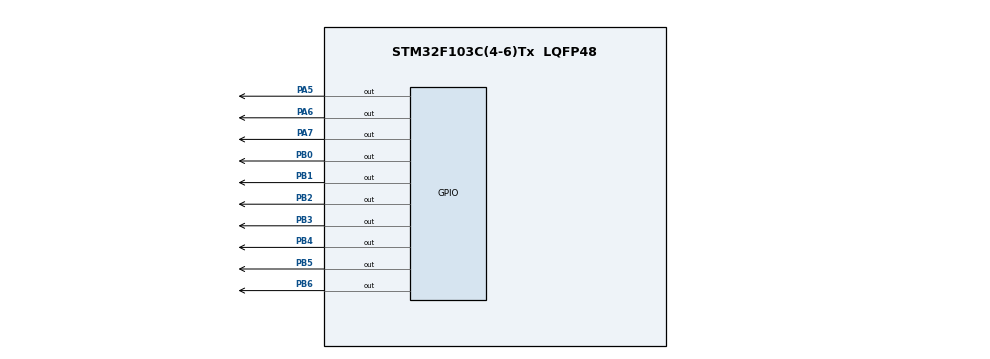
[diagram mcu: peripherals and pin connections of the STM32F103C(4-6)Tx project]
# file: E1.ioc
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Mcu.Family=STM32F1
Mcu.Name=STM32F103C(4-6)Tx
Mcu.Package=LQFP48
NVIC.PriorityGroup=NVIC_PRIORITYGROUP_4
NVIC.TIM2_IRQn=true\:0\:0\:false\:false\:true\:true\:true
PA5.Signal=GPIO_Output
PA6.Signal=GPIO_Output
PA7.Signal=GPIO_Output
PB0.Signal=GPIO_Output
PB1.Signal=GPIO_Output
PB2.Signal=GPIO_Output
PB3.Signal=GPIO_Output
PB4.Signal=GPIO_Output
PB5.Signal=GPIO_Output
PB6.Signal=GPIO_Output
ProjectManager.HeapSize=0x200
ProjectManager.StackSize=0x400
ProjectManager.TargetToolchain=STM32CubeIDE
RCC.APB1Freq_Value=8000000
RCC.APB2Freq_Value=8000000
TIM2.Period=9
TIM2.Prescaler=7999
VP_SYS_VS_ND.Mode=No_Debug
VP_TIM2_VS_ClockSourceINT.Mode=Internal
board=custom

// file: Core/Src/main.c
/* USER CODE BEGIN Header */
/**
  ******************************************************************************
  * @file           : main.c
  * @brief          : Main program body
  ******************************************************************************
  * @attention
  *
  * <h2><center>&copy; Copyright (c) 2025 STMicroelectronics.
  * All rights reserved.</center></h2>
  *
  * This software component is licensed by ST under BSD 3-Clause license,
  * the "License"; You may not use this file except in compliance with the
  * License. You may obtain a copy of the License at:
  *                        opensource.org/licenses/BSD-3-Clause
  *
  ******************************************************************************
  */
/* USER CODE END Header */

#include "main.h"

/* USER CODE BEGIN Includes */
#include "timer.h"
/* USER CODE END Includes */

TIM_HandleTypeDef htim2;

void SystemClock_Config(void);
static void MX_GPIO_Init(void);
static void MX_TIM2_Init(void);

uint8_t table[10] = {
    0b1000000, // 0
    0b1111001, // 1
    0b0100100, // 2
    0b0110000, // 3
    0b0011001, // 4
    0b0010010, // 5
    0b0000010, // 6
    0b1111000, // 7
    0b0000000, // 8
    0b0010000 // 9
};

void display7SEG(int num){
	uint8_t n= table[num];
	GPIOB->ODR= (GPIOB->ODR & 0xFFFFFF80)|n;
}

int main(void)
{

  /* MCU Configuration--------------------------------------------------------*/

  /* Reset of all peripherals, Initializes the Flash interface and the Systick. */
  HAL_Init();

  /* Configure the system clock */
  SystemClock_Config();

  /* Initialize all configured peripherals */
  MX_GPIO_Init();
  MX_TIM2_Init();
  /* USER CODE BEGIN 2 */
  HAL_TIM_Base_Start_IT(&htim2);
  /* USER CODE END 2 */

  /* Infinite loop */
  while (1)
  {

  }
}

void SystemClock_Config(void)
{
  RCC_OscInitTypeDef RCC_OscInitStruct = {0};
  RCC_ClkInitTypeDef RCC_ClkInitStruct = {0};

  /** Initializes the RCC Oscillators according to the specified parameters
  * in the RCC_OscInitTypeDef structure.
  */
  RCC_OscInitStruct.OscillatorType = RCC_OSCILLATORTYPE_HSI;
  RCC_OscInitStruct.HSIState = RCC_HSI_ON;
  RCC_OscInitStruct.HSICalibrationValue = RCC_HSICALIBRATION_DEFAULT;
  RCC_OscInitStruct.PLL.PLLState = RCC_PLL_NONE;
  if (HAL_RCC_OscConfig(&RCC_OscInitStruct) != HAL_OK)
  {
    Error_Handler();
  }
  /** Initializes the CPU, AHB and APB buses clocks
  */
  RCC_ClkInitStruct.ClockType = RCC_CLOCKTYPE_HCLK|RCC_CLOCKTYPE_SYSCLK
                              |RCC_CLOCKTYPE_PCLK1|RCC_CLOCKTYPE_PCLK2;
  RCC_ClkInitStruct.SYSCLKSource = RCC_SYSCLKSOURCE_HSI;
  RCC_ClkInitStruct.AHBCLKDivider = RCC_SYSCLK_DIV1;
  RCC_ClkInitStruct.APB1CLKDivider = RCC_HCLK_DIV1;
  RCC_ClkInitStruct.APB2CLKDivider = RCC_HCLK_DIV1;

  if (HAL_RCC_ClockConfig(&RCC_ClkInitStruct, FLASH_LATENCY_0) != HAL_OK)
  {
    Error_Handler();
  }
}

static void MX_TIM2_Init(void)
{

  TIM_ClockConfigTypeDef sClockSourceConfig = {0};
  TIM_MasterConfigTypeDef sMasterConfig = {0};

  htim2.Instance = TIM2;
  htim2.Init.Prescaler = 7999;
  htim2.Init.CounterMode = TIM_COUNTERMODE_UP;
  htim2.Init.Period = 9;
  htim2.Init.ClockDivision = TIM_CLOCKDIVISION_DIV1;
  htim2.Init.AutoReloadPreload = TIM_AUTORELOAD_PRELOAD_DISABLE;
  if (HAL_TIM_Base_Init(&htim2) != HAL_OK)
  {
    Error_Handler();
  }
  sClockSourceConfig.ClockSource = TIM_CLOCKSOURCE_INTERNAL;
  if (HAL_TIM_ConfigClockSource(&htim2, &sClockSourceConfig) != HAL_OK)
  {
    Error_Handler();
  }
  sMasterConfig.MasterOutputTrigger = TIM_TRGO_RESET;
  sMasterConfig.MasterSlaveMode = TIM_MASTERSLAVEMODE_DISABLE;
  if (HAL_TIMEx_MasterConfigSynchronization(&htim2, &sMasterConfig) != HAL_OK)
  {
    Error_Handler();
  }

}

static void MX_GPIO_Init(void)
{
  GPIO_InitTypeDef GPIO_InitStruct = {0};

  /* GPIO Ports Clock Enable */
  __HAL_RCC_GPIOA_CLK_ENABLE();
  __HAL_RCC_GPIOB_CLK_ENABLE();

  /*Configure GPIO pin Output Level */
  HAL_GPIO_WritePin(GPIOA, GPIO_PIN_5|GPIO_PIN_6|GPIO_PIN_7, GPIO_PIN_RESET);

  /*Configure GPIO pin Output Level */
  HAL_GPIO_WritePin(GPIOB, GPIO_PIN_0|GPIO_PIN_1|GPIO_PIN_2|GPIO_PIN_3
                          |GPIO_PIN_4|GPIO_PIN_5|GPIO_PIN_6, GPIO_PIN_RESET);

  /*Configure GPIO pins : PA5 PA6 PA7 */
  GPIO_InitStruct.Pin = GPIO_PIN_5|GPIO_PIN_6|GPIO_PIN_7;
  GPIO_InitStruct.Mode = GPIO_MODE_OUTPUT_PP;
  GPIO_InitStruct.Pull = GPIO_NOPULL;
  GPIO_InitStruct.Speed = GPIO_SPEED_FREQ_LOW;
  HAL_GPIO_Init(GPIOA, &GPIO_InitStruct);

  /*Configure GPIO pins : PB0 PB1 PB2 PB3
                           PB4 PB5 PB6 */
  GPIO_InitStruct.Pin = GPIO_PIN_0|GPIO_PIN_1|GPIO_PIN_2|GPIO_PIN_3
                          |GPIO_PIN_4|GPIO_PIN_5|GPIO_PIN_6;
  GPIO_InitStruct.Mode = GPIO_MODE_OUTPUT_PP;
  GPIO_InitStruct.Pull = GPIO_NOPULL;
  GPIO_InitStruct.Speed = GPIO_SPEED_FREQ_LOW;
  HAL_GPIO_Init(GPIOB, &GPIO_InitStruct);

}

/* USER CODE BEGIN 4 */
int counter=100;;
void HAL_TIM_PeriodElapsedCallback(TIM_HandleTypeDef *htim){
		counter--;
		if(counter<=0) counter=100;
		if(counter>=50){
				HAL_GPIO_WritePin(GPIOA, GPIO_PIN_5, SET);
				HAL_GPIO_WritePin(GPIOA, GPIO_PIN_6, RESET);
				HAL_GPIO_WritePin(GPIOA, GPIO_PIN_7, SET);
				display7SEG(1);
		}
		else {
				HAL_GPIO_WritePin(GPIOA, GPIO_PIN_5, RESET);
				HAL_GPIO_WritePin(GPIOA, GPIO_PIN_6, SET);
				HAL_GPIO_WritePin(GPIOA, GPIO_PIN_7, RESET);
				display7SEG(2);
	    }
}

/* USER CODE END 4 */

void Error_Handler(void)
{
  __disable_irq();
  while (1)
  {
  }
}

/************************ (C) COPYRIGHT STMicroelectronics *****END OF FILE****/
